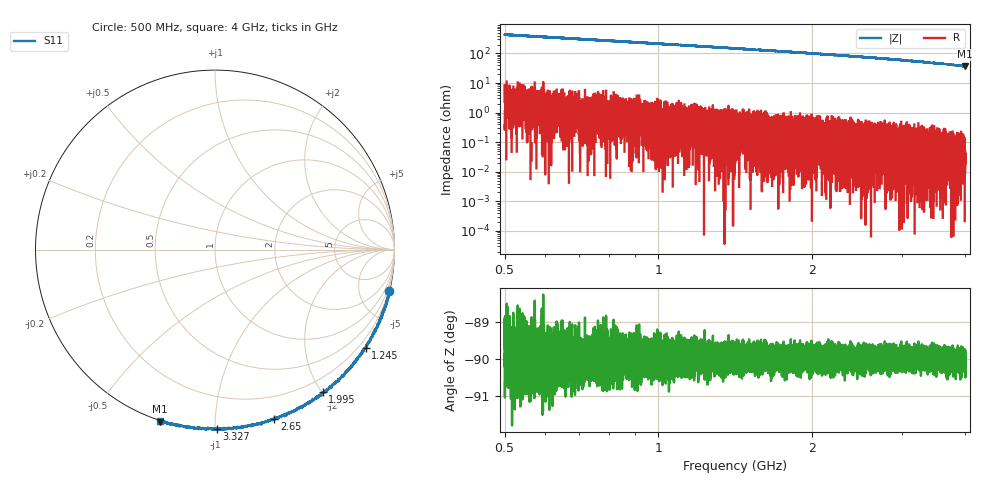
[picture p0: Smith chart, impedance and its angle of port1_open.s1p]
!Agilent Technologies,E8363C,MY49030273,A.09.42.18
!Agilent E8363C: A.09.42.18
!Date: Tuesday, May 03, 2022 03:54:22
!Correction: S11(Full 2 Port(1,2))
!S1P File: Measurement: S11:
# Hz S  dB  R 50
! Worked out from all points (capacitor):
!   32001 points, 500 MHz to 4 GHz, reference 50 ohm
!   read as one part to ground: C = 742 fF near 517.5 MHz
!   lowest |Z| = 36.5 ohm at 3.997 GHz (marker M1)
!   S11 on the Smith chart (normalised r, x): 500 MHz: 0.05, -8.58; 1.245 GHz: -0.02, -3.37; 1.995 GHz: 0.01, -2.01; 2.65 GHz: -0.00, -1.41; 3.327 GHz: 0.00, -1.01; 4 GHz: -0.00, -0.73
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5e8  -0.01 -13.3
5.187031e8  0.00 -13.8
7.206094e8  0.01 -19.3
9.375e8  -0.03 -24.8
1.065141e9  0.02 -28.1
1.245062e9  0.02 -33.1
1.375e9  -0.01 -36.2
1.577016e9  0.02 -42.0
1.8125e9  0.01 -47.9
1.995047e9  -0.04 -53.0
2.118094e9  -0.01 -56.2
2.25e9  0.00 -59.8
2.333344e9  -0.01 -61.8
2.502875e9  -0.02 -66.6
2.649766e9  0.01 -70.7
2.6875e9  0.01 -71.5
2.947703e9  0.01 -78.7
3.077312e9  0.02 -82.3
3.125e9  0.04 -83.5
3.186469e9  0.03 -85.0
3.326578e9  -0.00 -89.3
3.503547e9  0.01 -93.8
3.5625e9  -0.02 -95.6
3.6115e9  -0.01 -96.7
3.767031e9  0.00 -101.3
3.811e9  0.00 -102.1
3.997047e9  0.05 -107.7
4e9  0.01 -107.5
